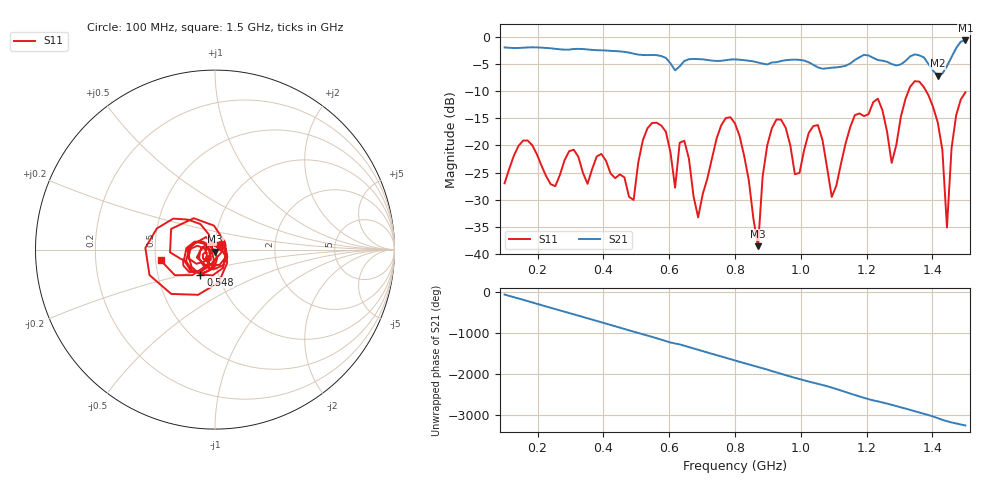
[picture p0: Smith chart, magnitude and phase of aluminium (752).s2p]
! NanoVNA-App
! Date: 2025-09-25 15:01:08
! Start: 100MHz Stop: 1,5GHz Points: 101
! S-Parameter data: F S11 S21 S12 S22
# Hz S RI R 50
!  Frequency  S11_Real  S11_Imag  S21_Real  S21_Imag  S12_Real  S12_Imag  S22_Real  S22_Imag
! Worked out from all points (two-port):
!   101 points, 100 MHz to 1.5 GHz, reference 50 ohm
!   highest |S21| = -0.63 dB at 1.5 GHz (marker M1); lowest = -7.1 dB at 1.416 GHz (marker M2)
!   |S21| within 3 dB of the highest: start of sweep to 581 MHz; 1.331 GHz to 1.369 GHz (38.11 MHz wide, 2.82 % of centre) (the widest 2 of 4)
!   lowest |S11| = -38.6 dB at 870 MHz (marker M3), VSWR 1.02, Z = 50 - j1.18 ohm
!   |S11| at or under -10 dB: start of sweep to 1.327 GHz; 1.381 GHz to end of sweep
!   S12 and S22 are empty: the file has one direction only
!   S11 on the Smith chart (normalised r, x): 100 MHz: 1.07, +0.06; 548 MHz: 0.82, -0.24; 1.5 GHz: 0.53, -0.07
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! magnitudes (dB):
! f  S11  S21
! 100 MHz  -27.0  -1.9
! 156 MHz  -19.1  -2.0
! 338 MHz  -25.0  -2.2
! 492 MHz  -30.0  -3.1
! 548 MHz  -15.8  -3.3
! 576 MHz  -16.3  -3.5
! 618 MHz  -27.8  -6.1
! 646 MHz  -19.1  -4.4
! 688 MHz  -33.3  -4.1
! 800 MHz  -15.9  -4.1
! 870 MHz  -38.6  -4.7
! 912 MHz  -16.8  -4.7
! 982 MHz  -25.3  -4.2
! 1.038 GHz  -16.4  -5.1
! 1.094 GHz  -29.5  -5.7
! 1.234 GHz  -11.4  -4.2
! 1.276 GHz  -23.2  -5.0
! 1.346 GHz  -8.1  -3.2
! 1.416 GHz  -15.7  -7.1
! 1.444 GHz  -35.1  -5.4
! 1.458 GHz  -20.5  -3.7
! 1.5 GHz  -10.2  -0.6
